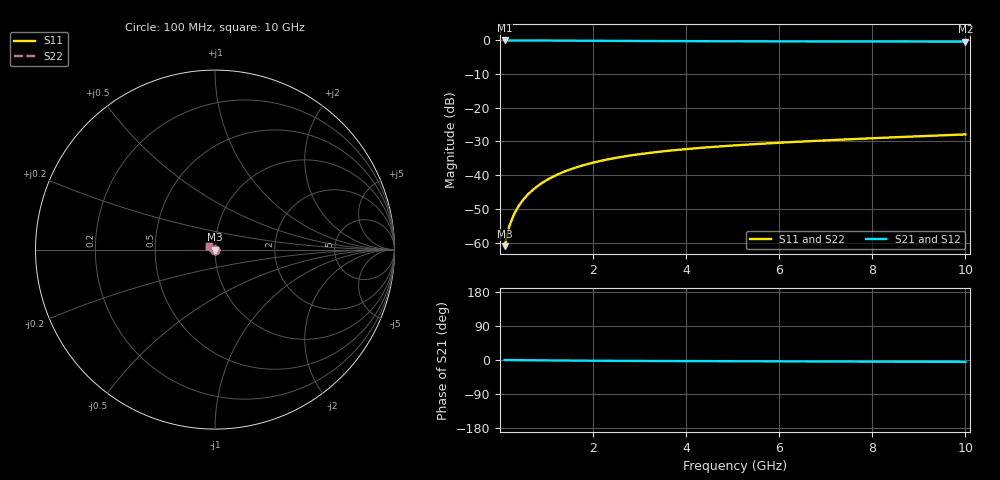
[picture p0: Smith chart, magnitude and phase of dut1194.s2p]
! Touchstone file exported from HFSS 2024.1.0
!  File:  C:/UserFiles/LocalFiles/RDL_TSV_Batchsim/temp_TSV1_1194_1780075907.aedt
!  Generated:  01:36:39 AM May 30, 2026
!  Design:  TSV1
!  Project:  temp_TSV1_1194_1780075907
!  Setup:  Setup1
!  Solution:  Sweep
! Variables:
!  dtsv = 8.64um
!  hbump = 3um
!  htsv = 72.73um
!  lrdl = 252.1521522um
!  p = 40
!  p1 = 59.76um
!  t = 500um
!  trdl = 3um
!  wrdl = 24.89489489um
# GHz S MA R 50.000000
! Terminal data exported
! Port[1] = TSV22_T1
! Port[2] = TSV22_T2
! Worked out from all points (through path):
!   100 points, 100 MHz to 10 GHz, reference 50 ohm
!   highest |S21| = 0.00 dB at 100 MHz (marker M1); lowest = -0.3 dB at 10 GHz (marker M2)
!   lowest |S11| = -61.1 dB at 100 MHz (marker M3), VSWR 1.00, Z = 50 - j0.0871 ohm
!   |S11| at or under -10 dB: start of sweep to end of sweep
!   |S22| runs from -61.1 to -27.9 dB; largest |S21 - S12| = 2.2e-15
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0.1  0.0008835 -80.4  0.9998 -0.1  0.9998 -0.1  0.0008835 -80.4
! Gamma 0 0 0 0
! Port Impedance 50 0 50 0
0.2  0.001747 -88.4  0.9997 -0.2  0.9997 -0.2  0.001747 -88.4
0.3  0.002613 -92.7  0.9995 -0.3  0.9995 -0.3  0.002613 -92.7
0.4  0.003475 -96.0  0.9992 -0.4  0.9992 -0.4  0.003475 -96.0
0.5  0.004329 -98.9  0.9989 -0.6  0.9989 -0.6  0.004329 -98.9
0.6  0.005173 -101.5  0.9985 -0.7  0.9985 -0.7  0.005173 -101.5
0.7  0.006007 -104.0  0.9981 -0.8  0.9981 -0.8  0.006007 -104.0
0.8  0.006827 -106.5  0.9976 -0.9  0.9976 -0.9  0.006827 -106.5
0.9  0.007633 -108.8  0.9971 -1.0  0.9971 -1.0  0.007633 -108.8
1.1  0.009199 -113.4  0.9959 -1.2  0.9959 -1.2  0.009199 -113.4
1.4  0.01142 -119.8  0.9938 -1.4  0.9938 -1.4  0.01142 -119.8
1.6  0.0128 -124.0  0.9923 -1.6  0.9923 -1.6  0.0128 -124.0
1.8  0.01411 -127.9  0.9908 -1.7  0.9908 -1.7  0.01411 -127.9
2.1  0.01594 -133.5  0.9885 -2.0  0.9885 -2.0  0.01594 -133.5
2.5  0.01812 -140.5  0.9854 -2.2  0.9854 -2.2  0.01812 -140.5
2.9  0.02006 -146.9  0.9825 -2.4  0.9825 -2.4  0.02006 -146.9
3.4  0.02218 -154.2  0.9793 -2.7  0.9793 -2.7  0.02218 -154.2
4.2  0.02507 -164.5  0.9749 -3.0  0.9749 -3.0  0.02507 -164.5
5.1  0.02783 -174.3  0.9711 -3.3  0.9711 -3.3  0.02783 -174.3
6.7  0.0321 171.6  0.9663 -3.8  0.9663 -3.8  0.0321 171.6
8.4  0.03633 159.8  0.9631 -4.4  0.9631 -4.4  0.03633 159.8
10  0.04029 150.9  0.961 -5.0  0.961 -5.0  0.04029 150.9
